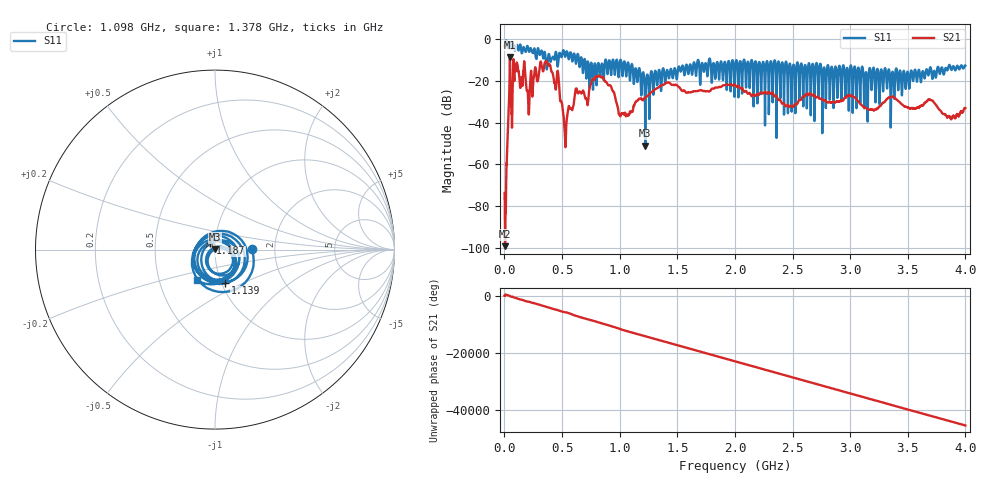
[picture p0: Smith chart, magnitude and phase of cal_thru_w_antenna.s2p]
!Created with skrf (http://scikit-rf.org).
# GHz S RI R 50.0
!freq ReS11 ImS11 ReS21 ImS21 ReS12 ImS12 ReS22 ImS22
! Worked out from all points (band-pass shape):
!   4000 points, 1 MHz to 4 GHz, reference 50 ohm
!   highest |S21| = -8.64 dB at 47 MHz (marker M1); lowest = -99.0 dB at 5 MHz (marker M2)
!   |S21| within 3 dB of the highest: 310.2 MHz to 318.6 MHz (8.477 MHz wide, 2.7 % of centre); 348.8 MHz to 372.8 MHz (23.97 MHz wide, 6.64 % of centre) (the widest 2 of 6)
!   lowest |S11| = -51.0 dB at 1.222 GHz (marker M3), VSWR 1.01, Z = 50.2 + j0.228 ohm
!   |S11| at or under -10 dB: 1.008 GHz to 1.775 GHz (766.8 MHz wide, 55.1 % of centre); 1.785 GHz to 2.077 GHz (292.9 MHz wide, 15.2 % of centre); 2.081 GHz to end of sweep (the widest 3 of 14)
!   S12 and S22 are empty: the file has one direction only
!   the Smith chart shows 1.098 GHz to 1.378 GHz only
!   S11 on the Smith chart (normalised r, x): 1.098 GHz: 1.51, +0.00; 1.139 GHz: 1.04, -0.41; 1.187 GHz: 0.94, +0.07; 1.378 GHz: 0.77, -0.27
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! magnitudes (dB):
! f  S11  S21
! 1 MHz  -3.6  -73.6
! 5 MHz  -3.1  -99.0
! 47 MHz  -4.4  -8.6
! 95 MHz  -5.1  -15.3
! 204 MHz  -4.0  -27.3
! 379 MHz  -8.7  -12.6
! 471 MHz  -8.3  -19.8
! 528 MHz  -8.5  -50.6
! 668 MHz  -9.0  -25.9
! 838 MHz  -14.0  -18.3
! 1.004 GHz  -10.3  -37.0
! 1.098 GHz  -13.8  -35.1
! 1.139 GHz  -14.1  -30.1
! 1.187 GHz  -27.0  -28.4
! 1.222 GHz  -51.0  -28.0
! 1.334 GHz  -16.8  -23.3
! 1.378 GHz  -14.1  -22.0
! 2.001 GHz  -16.6  -22.0
! 2.458 GHz  -26.3  -31.6
! 2.667 GHz  -14.3  -27.0
! 3.334 GHz  -14.6  -28.1
! 4 GHz  -12.8  -33.1
